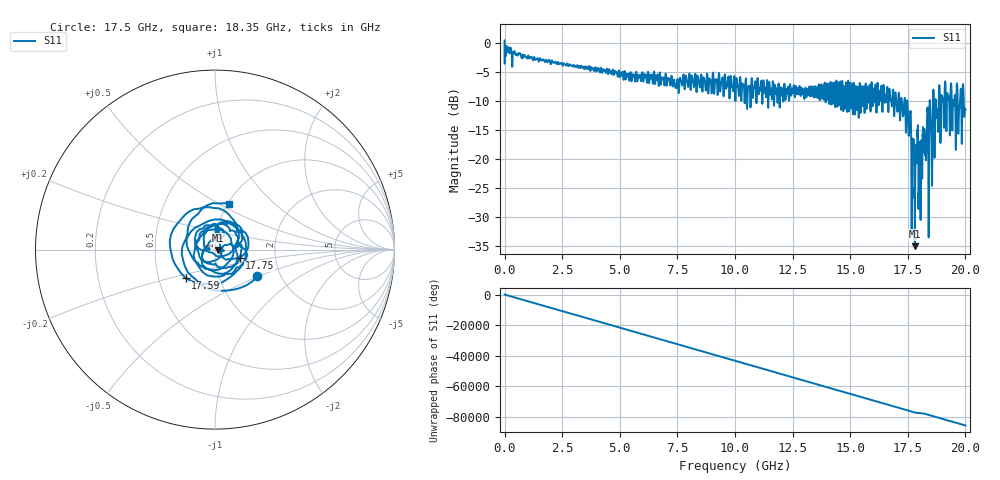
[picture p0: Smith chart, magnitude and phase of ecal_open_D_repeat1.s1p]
! MS46122B
! 2250307/22442219
! 7/25/2025 1:42:21 PM
! C:\USERS\SPARKY\DOCUMENTS\VNA_DATA\JULY25_2025\3K\ECAL_OPEN_D_REPEAT1.S1P
! CHANNEL.1
! TR.MEASUREMENT
! RAW.DATA
# GHZ S RI R 50.0
! FREQ.GHZ  S11RE  S11IM
!; PortSelection: Port_1
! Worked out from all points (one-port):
!   10001 points, 1 MHz to 20 GHz, reference 50 ohm
!   lowest |S11| = -35.0 dB at 17.81 GHz (marker M1), VSWR 1.04, Z = 51.8 - j0.205 ohm
!   |S11| at or under -10 dB: 17.48 GHz to 18.45 GHz (972.1 MHz wide, 5.41 % of centre); 18.46 GHz to 18.59 GHz (134.9 MHz wide, 0.728 % of centre); 18.71 GHz to 18.84 GHz (124.1 MHz wide, 0.661 % of centre) (the widest 3 of 63)
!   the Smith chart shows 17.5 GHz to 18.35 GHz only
!   S11 on the Smith chart (normalised r, x): 17.5 GHz: 1.53, -0.48; 17.59 GHz: 0.69, -0.23; 17.75 GHz: 1.31, -0.13; 18.35 GHz: 1.02, +0.55
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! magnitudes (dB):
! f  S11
! 1 MHz  0.4
! 2.501 GHz  -3.7
! 5.001 GHz  -5.8
! 7.501 GHz  -6.2
! 10 GHz  -8.1
! 12.5 GHz  -8.5
! 15 GHz  -7.0
! 16.78 GHz  -9.8
! 17.3 GHz  -12.6
! 17.5 GHz  -11.1
! 17.5 GHz  -11.5
! 17.55 GHz  -15.3
! 17.59 GHz  -12.8
! 17.68 GHz  -21.1
! 17.75 GHz  -16.8
! 17.81 GHz  -35.0
! 17.93 GHz  -14.7
! 18.05 GHz  -28.1
! 18.17 GHz  -15.8
! 18.35 GHz  -11.6
! 18.42 GHz  -17.1
! 18.49 GHz  -12.8
! 18.53 GHz  -17.4
! 18.59 GHz  -10.4
! 18.68 GHz  -12.5
! 18.74 GHz  -12.4
! 19.05 GHz  -11.2
! 20 GHz  -11.6
